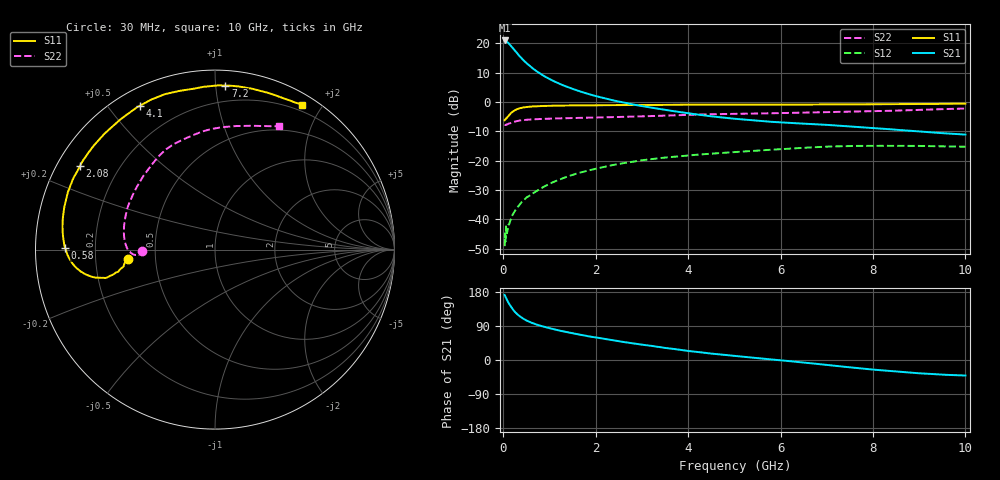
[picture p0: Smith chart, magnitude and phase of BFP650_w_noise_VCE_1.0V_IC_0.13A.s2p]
! Infineon Technologies  Discrete & RF Semiconductors
! BFP650
! VCE =  1.0 V,  IC = 0.13 A
! Common Emitter S-Parameters:  Jan 2016
# GHz  S  MA  R  50
!  f  S11  S21  S12  S22
! GHz  MAG  ANG  MAG  ANG  MAG  ANG  MAG  ANG
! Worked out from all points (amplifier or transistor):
!   229 points, 30 MHz to 10 GHz, reference 50 ohm
!   highest |S21| = 21.0 dB at 30 MHz (marker M1)
!   |S21| within 3 dB of that: start of sweep to 228.7 MHz
!   unconditionally stable (mu >= 1): start of sweep to end of sweep
!   at 280 MHz: K = 2.02, MAG = 21.0 dB, |S12| = -36.4 dB
!   at 1.78 GHz: K = 1.34, MAG = 9.8 dB, |S12| = -23.6 dB
!   at 10 GHz: K = 1.20, MAG = -0.6 dB, |S12| = -15.2 dB
!   lowest NFmin = 1.69 dB at 450 MHz
!   S11 on the Smith chart (normalised r, x): 30 MHz: 0.34, -0.05; 580 MHz: 0.09, +0.01; 2.08 GHz: 0.07, +0.28; 4.1 GHz: 0.07, +0.60; 7.2 GHz: 0.09, +1.06; 10 GHz: 0.12, +1.76
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0.03  0.49 -174.0  11.23 171.7  0.0035 23.0  0.4083 -178.9
0.05  0.5063 -172.1  10.96 166.5  0.0042 35.6  0.4055 -177.8
0.06  0.5193 -169.4  10.94 164.2  0.0076 16.2  0.4109 -176.8
0.08  0.542 -168.1  10.67 158.8  0.0058 49.4  0.4137 -177.0
0.11  0.5795 -166.4  10.18 151.9  0.0081 47.3  0.4257 -176.1
0.15  0.6296 -165.5  9.426 143.5  0.0094 54.7  0.4359 -175.9
0.2  0.6843 -166.8  8.477 134.5  0.0119 59.5  0.4535 -176.4
0.3  0.7575 -170.7  6.801 121.0  0.016 58.5  0.4749 -178.5
0.36  0.7849 -173.0  5.992 115.1  0.018 60.5  0.4856 -179.9
0.45  0.8134 -176.5  5.054 107.8  0.0214 60.7  0.4944 177.8
0.58  0.8356 179.3  4.089 100.1  0.0257 62.1  0.5047 174.8
0.8  0.8549 173.4  3.046 90.4  0.0332 60.9  0.5156 170.1
1  0.8653 168.8  2.471 83.9  0.0404 61.7  0.5222 166.3
1.7  0.8824 155.0  1.487 65.9  0.0638 55.5  0.5401 154.6
2.08  0.8849 148.3  1.221 57.9  0.0755 50.5  0.5471 148.4
3.4  0.8945 127.5  0.758 33.8  0.111 35.4  0.5838 128.9
4.1  0.9042 117.7  0.629 22.6  0.1252 27.3  0.6091 120.4
5.1  0.9085 106.8  0.512 9.7  0.1421 17.4  0.6319 110.5
6.8  0.912 90.9  0.416 -10.4  0.1708 -0.1  0.6682 93.2
7.2  0.9156 86.4  0.399 -15.5  0.1756 -4.7  0.6765 89.4
8.4  0.9212 72.0  0.343 -29.5  0.1798 -17.8  0.711 75.9
10  0.9429 58.9  0.279 -41.0  0.1737 -29.5  0.7759 62.6
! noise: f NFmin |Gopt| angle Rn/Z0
0.45  1.69  0.62  -171  0.06
0.9  1.71  0.63  -164  0.07
1.9  1.86  0.65  -149  0.11
2.4  1.98  0.63  -140  0.17
3.5  2.2  0.63  -118  0.32
